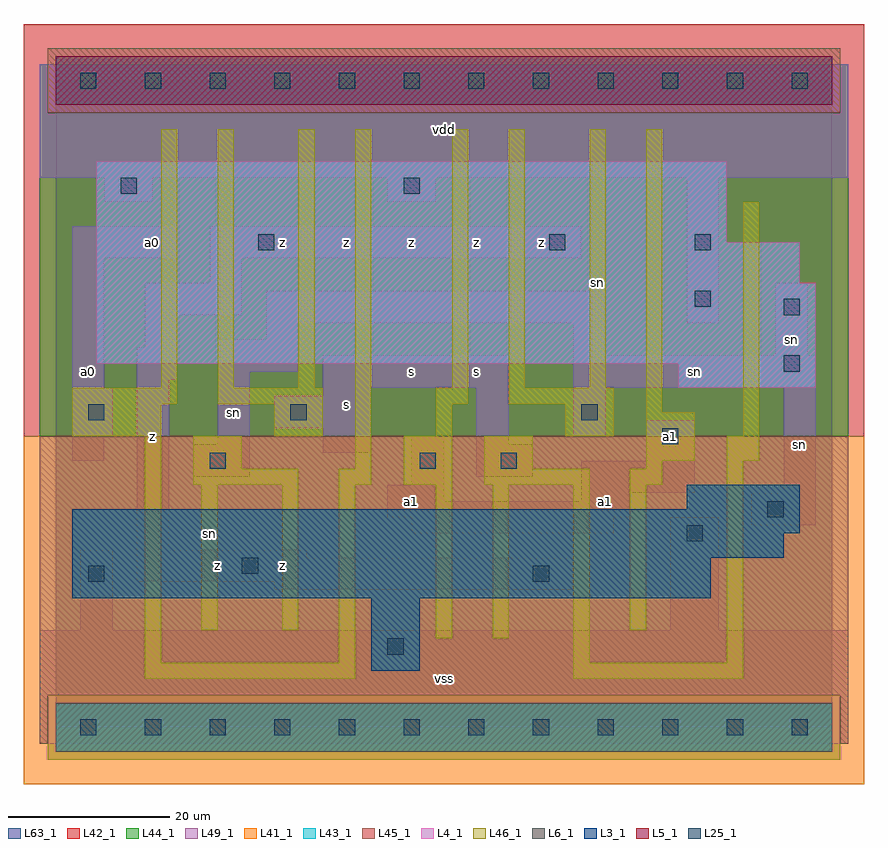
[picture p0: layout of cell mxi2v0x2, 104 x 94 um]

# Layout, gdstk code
import gdstk
lib = gdstk.Library(unit=1e-6, precision=1e-09)
def R(c, l, rs):  # rectangles x0, y0, x1, y1
    for r in rs: c.add(gdstk.rectangle(r[:2], r[2:], *l))
def A(c, l, x, y, w, h, nx, ny, dx, dy):  # array of equal rectangles
    R(c, l, [(x+i*dx, y+j*dy, x+i*dx+w, y+j*dy+h) for i in range(nx) for j in range(ny)])
L3_1 = (3, 1)
L4_1 = (4, 1)
L5_1 = (5, 1)
L6_1 = (6, 1)
L25_1 = (25, 1)
L41_1 = (41, 1)
L42_1 = (42, 1)
L43_1 = (43, 1)
L44_1 = (44, 1)
L45_1 = (45, 1)
L46_1 = (46, 1)
L49_1 = (49, 1)
L63_1 = (63, 1)

mxi2v0x2 = lib.new_cell('mxi2v0x2')
R(mxi2v0x2, L3_1, [(39,7,45,16), (2,16,81,21), (2,21,90,24), (2,24,92,27), (78,27,92,30)])
R(mxi2v0x2, L4_1, [(77,42,94,45), (5,45,94,55), (5,55,92,60), (5,60,83,70)])
R(mxi2v0x2, L5_1, [(0,77,96,83)])
R(mxi2v0x2, L6_1, [(0,-3,96,3), (0,-3,96,3)])
A(mxi2v0x2, L25_1, 3, -1, 2, 2, 12, 2, 8, 80)
R(mxi2v0x2, L25_1, [(41,9,43,11), (4,18,6,20), (59,18,61,20), (23,19,25,21), (78,23,80,25), (88,26,90,28), (19,32,21,34), (45,32,47,34), (55,32,57,34), (75,35,77,37), (4,38,6,40), (29,38,31,40), (65,38,67,40), (90,44,92,46), (90,51,92,53), (79,52,81,54), (25,59,27,61), (61,59,63,61), (79,59,81,61), (8,66,10,68), (43,66,45,68)])
R(mxi2v0x2, L41_1, [(-4,-7,100,36)])
R(mxi2v0x2, L42_1, [(-4,36,100,87)])
R(mxi2v0x2, L43_1, [(0,-3,96,3), (39,7,45,16), (2,16,81,21), (2,21,90,24), (2,24,92,27), (78,27,92,30), (77,42,94,45), (5,45,94,55), (5,55,92,60), (5,60,83,70), (0,77,96,83)])
R(mxi2v0x2, L44_1, [(-1,-4,97,4), (-2,36,98,76), (-2,76,-1,82), (97,76,98,82)])
R(mxi2v0x2, L45_1, [(-2,-2,-1,4), (97,-2,98,4), (-2,4,98,36), (-1,76,97,84)])
R(mxi2v0x2, L46_1, [(11,6,37,8), (64,6,85,8), (11,8,13,36), (35,8,37,30), (64,8,66,30), (83,8,85,33), (47,11,49,30), (54,11,56,30), (18,12,20,30), (28,12,30,30), (71,12,73,30), (17,30,30,32), (35,30,39,32), (43,30,49,36), (53,30,66,32), (71,30,75,32), (17,32,23,36), (37,32,39,74), (53,32,59,36), (73,32,75,33), (73,33,79,39), (83,33,87,36), (2,36,13,40), (27,36,33,40), (47,36,49,40), (63,36,69,40), (85,36,87,65), (73,39,75,74), (2,40,15,42), (20,40,33,42), (47,40,51,42), (56,40,69,42), (13,42,15,74), (20,42,22,74), (30,42,32,74), (49,42,51,74), (56,42,58,74), (66,42,68,74)])
R(mxi2v0x2, L49_1, [(-2,-2,98,12), (3,12,7,22), (76,12,82,26), (27,17,64,18), (10,18,64,21), (10,21,31,22), (10,22,14,43), (44,24,69,26), (86,25,94,29), (41,26,71,28), (41,28,48,30), (65,28,71,29), (65,29,79,33), (90,29,94,42), (44,30,48,36), (17,31,24,35), (52,31,59,35), (2,33,6,36), (73,33,79,38), (33,34,39,37), (20,35,24,44), (52,35,56,42), (2,36,7,42), (64,36,68,42), (27,37,39,41), (33,41,39,42), (2,42,6,58), (33,42,56,46), (64,42,94,46), (10,43,15,47), (20,44,30,48), (64,46,68,50), (89,46,93,55), (11,47,15,51), (26,48,30,50), (26,50,68,54), (78,50,82,68), (11,51,23,55), (19,55,23,58), (2,58,15,62), (19,58,65,62), (6,65,12,68), (41,65,47,68), (-2,68,98,82)])
R(mxi2v0x2, L63_1, [(0,0,96,80)])
mxi2v0x2.add(gdstk.Label('sn', (19,24), layer=46, texttype=1))
mxi2v0x2.add(gdstk.Label('sn', (67,55), layer=46, texttype=1))
mxi2v0x2.add(gdstk.Label('a0', (4,44), layer=49, texttype=1))
mxi2v0x2.add(gdstk.Label('z', (12,36), layer=49, texttype=1))
mxi2v0x2.add(gdstk.Label('a0', (12,60), layer=49, texttype=1))
mxi2v0x2.add(gdstk.Label('z', (20,20), layer=49, texttype=1))
mxi2v0x2.add(gdstk.Label('z', (28,20), layer=49, texttype=1))
mxi2v0x2.add(gdstk.Label('sn', (22,39), layer=49, texttype=1))
mxi2v0x2.add(gdstk.Label('z', (28,60), layer=49, texttype=1))
mxi2v0x2.add(gdstk.Label('vss', (48,6), layer=49, texttype=1))
mxi2v0x2.add(gdstk.Label('a1', (44,28), layer=49, texttype=1))
mxi2v0x2.add(gdstk.Label('s', (36,40), layer=49, texttype=1))
mxi2v0x2.add(gdstk.Label('s', (52,44), layer=49, texttype=1))
mxi2v0x2.add(gdstk.Label('s', (44,44), layer=49, texttype=1))
mxi2v0x2.add(gdstk.Label('z', (36,60), layer=49, texttype=1))
mxi2v0x2.add(gdstk.Label('z', (52,60), layer=49, texttype=1))
mxi2v0x2.add(gdstk.Label('z', (44,60), layer=49, texttype=1))
mxi2v0x2.add(gdstk.Label('vdd', (48,74), layer=49, texttype=1))
mxi2v0x2.add(gdstk.Label('a1', (68,28), layer=49, texttype=1))
mxi2v0x2.add(gdstk.Label('a1', (76,36), layer=49, texttype=1))
mxi2v0x2.add(gdstk.Label('z', (60,60), layer=49, texttype=1))
mxi2v0x2.add(gdstk.Label('sn', (92,35), layer=49, texttype=1))
mxi2v0x2.add(gdstk.Label('sn', (79,44), layer=49, texttype=1))
mxi2v0x2.add(gdstk.Label('sn', (91,48), layer=49, texttype=1))

lib.write_gds('mxi2v0x2.gds')
